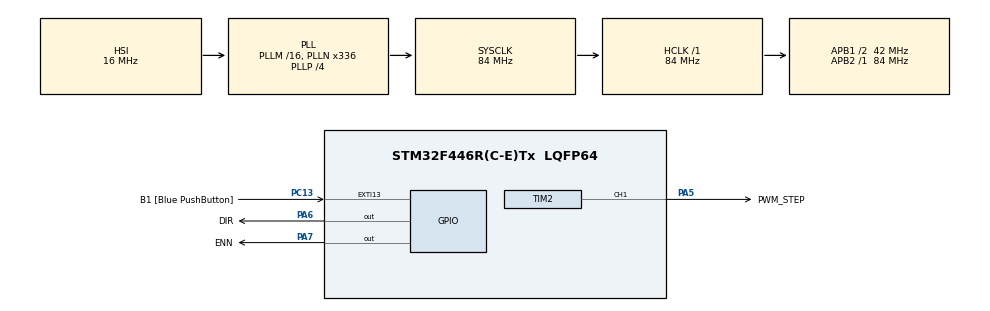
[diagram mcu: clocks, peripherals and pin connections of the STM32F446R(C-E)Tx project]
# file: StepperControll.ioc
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Dma.Request0=TIM2_UP/CH3
Dma.TIM2_UP/CH3.0.Direction=DMA_MEMORY_TO_PERIPH
Dma.TIM2_UP/CH3.0.FIFOMode=DMA_FIFOMODE_DISABLE
Dma.TIM2_UP/CH3.0.Instance=DMA1_Stream1
Dma.TIM2_UP/CH3.0.MemDataAlignment=DMA_MDATAALIGN_WORD
Dma.TIM2_UP/CH3.0.MemInc=DMA_MINC_ENABLE
Dma.TIM2_UP/CH3.0.Mode=DMA_NORMAL
Dma.TIM2_UP/CH3.0.PeriphDataAlignment=DMA_PDATAALIGN_WORD
Dma.TIM2_UP/CH3.0.PeriphInc=DMA_PINC_DISABLE
Dma.TIM2_UP/CH3.0.Priority=DMA_PRIORITY_HIGH
Mcu.Family=STM32F4
Mcu.Name=STM32F446R(C-E)Tx
Mcu.Package=LQFP64
NVIC.DMA1_Stream1_IRQn=true\:0\:0\:false\:false\:true\:false\:true\:true
NVIC.PriorityGroup=NVIC_PRIORITYGROUP_0
NVIC.TIM2_IRQn=true\:0\:0\:false\:false\:true\:true\:true\:true
PA13.GPIO_Label=TMS
PA13.Signal=SYS_JTMS-SWDIO
PA14.GPIO_Label=TCK
PA14.Signal=SYS_JTCK-SWCLK
PA2.GPIO_Label=USART_TX
PA2.Signal=USART2_TX
PA3.GPIO_Label=USART_RX
PA3.Signal=USART2_RX
PA5.GPIO_Label=PWM_STEP
PA5.GPIO_Speed=GPIO_SPEED_FREQ_HIGH
PA5.Signal=S_TIM2_CH1_ETR
PA6.GPIO_Label=DIR
PA6.Signal=GPIO_Output
PA7.GPIO_Label=ENN
PA7.GPIO_PuPd=GPIO_PULLDOWN
PA7.Signal=GPIO_Output
PB3.GPIO_Label=SWO
PB3.Signal=SYS_JTDO-SWO
PC13.GPIO_Label=B1 [Blue PushButton]
PC13.GPIO_ModeDefaultEXTI=GPIO_MODE_IT_FALLING
PC13.Signal=GPXTI13
PC14-OSC32_IN.Signal=RCC_OSC32_IN
PC15-OSC32_OUT.Signal=RCC_OSC32_OUT
PH0-OSC_IN.Mode=HSE-External-Oscillator
PH0-OSC_IN.Signal=RCC_OSC_IN
PH1-OSC_OUT.Mode=HSE-External-Oscillator
PH1-OSC_OUT.Signal=RCC_OSC_OUT
ProjectManager.HeapSize=0x200
ProjectManager.StackSize=0x400
ProjectManager.TargetToolchain=STM32CubeIDE
RCC.AHBFreq_Value=84000000
RCC.APB1CLKDivider=RCC_HCLK_DIV2
RCC.APB1Freq_Value=42000000
RCC.APB1TimFreq_Value=84000000
RCC.APB2Freq_Value=84000000
RCC.APB2TimFreq_Value=84000000
RCC.CortexFreq_Value=84000000
RCC.FLatency-AdvancedSettings=FLASH_LATENCY_2
RCC.HCLKFreq_Value=84000000
RCC.HSE_VALUE=8000000
RCC.HSI_VALUE=16000000
RCC.LSE_VALUE=32768
RCC.PLLN=336
RCC.PLLP=RCC_PLLP_DIV4
RCC.SYSCLKFreq_VALUE=84000000
RCC.SYSCLKSource=RCC_SYSCLKSOURCE_PLLCLK
RCC.USBFreq_Value=168000000
RCC.VCOOutputFreq_Value=336000000
SH.S_TIM2_CH1_ETR.0=TIM2_CH1,PWM Generation1 CH1
TIM2.Channel-PWM\ Generation1\ CH1=TIM_CHANNEL_1
TIM2.OCPolarity_1=TIM_OCPOLARITY_HIGH
TIM2.Period=41999999
TIM2.Pulse-PWM\ Generation1\ CH1=32
VP_TIM2_VS_ClockSourceINT.Mode=Internal
board=NUCLEO-F446RE

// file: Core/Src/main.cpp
/* USER CODE BEGIN Header */
/**
  ******************************************************************************
  * @file           : main.c
  * @brief          : Main program body
  ******************************************************************************
  * @attention
  *
  * Copyright (c) 2025 STMicroelectronics.
  * All rights reserved.
  *
  * This software is licensed under terms that can be found in the LICENSE file
  * in the root directory of this software component.
  * If no LICENSE file comes with this software, it is provided AS-IS.
  *
  ******************************************************************************
  */
/* USER CODE END Header */
#include "main.h"
#include "GPIO.hpp"
#include "StepperController.hpp"

/* USER CODE BEGIN PD */
#define MAX_SIZE 200*64 + 1		// Max size of ARR table

#define FREQ_TMR 84000000UL   // timer freq [Hz]
#define FULL_STEP_DEG 1.8     // deg / steo
#define MICRO_STEPS 0.125f    // 1/8
#define PI 3.14159265358979323846

#define LUT_SIZE 100			//Size of LUT for neg arcsin

// Scalers
#define T_SCALER FREQ_TMR      // time scaler (y axis)
#define THETA_SCALER 1000000UL // angle scaler (x axis)
/* USER CODE END PD */

TIM_HandleTypeDef htim2;
DMA_HandleTypeDef hdma_tim2_up_ch3;

/* USER CODE BEGIN PV */

GPIO DIR_GPIO(DIR_GPIO_Port, DIR_Pin);
GPIO ENN_GPIO(ENN_GPIO_Port, ENN_Pin);

/* USER CODE END PV */

void SystemClock_Config(void);
static void MX_GPIO_Init(void);
static void MX_DMA_Init(void);
static void MX_TIM2_Init(void);

/* USER CODE END 0 */

int main(void)
{

  /* MCU Configuration--------------------------------------------------------*/

  /* Reset of all peripherals, Initializes the Flash interface and the Systick. */
  HAL_Init();

  /* Configure the system clock */
  SystemClock_Config();

  /* Initialize all configured peripherals */
  MX_GPIO_Init();
  MX_DMA_Init();
  MX_TIM2_Init();
  /* USER CODE BEGIN 2 */
  ENN_GPIO.digitalWrite(GPIO_PIN_RESET);

  StepperController motor1_controller(
		  &htim2,
		  &hdma_tim2_up_ch3,
		  &DIR_GPIO,
		  1.8d,
		  0.125d);

  motor1_controller.calculate_movement(90, 0.5);
  /* USER CODE END 2 */

  /* Infinite loop */
  /* USER CODE BEGIN WHILE */
  int j = 0;
  while (1)
  {
	  HAL_Delay(150);
	  if(j<=20)
	  {
		  motor1_controller.start_stepping(1);
	  }
	  if(j>72)
	  {
		  motor1_controller.start_stepping(-1);
	  }
	  if(j == 21)
	  {
		  j = 0;
		  HAL_Delay(1000);
	  }
	  j++;
    /* USER CODE END WHILE */
  }
}

void SystemClock_Config(void)
{
  RCC_OscInitTypeDef RCC_OscInitStruct = {0};
  RCC_ClkInitTypeDef RCC_ClkInitStruct = {0};

  /** Configure the main internal regulator output voltage
  */
  __HAL_RCC_PWR_CLK_ENABLE();
  __HAL_PWR_VOLTAGESCALING_CONFIG(PWR_REGULATOR_VOLTAGE_SCALE3);

  /** Initializes the RCC Oscillators according to the specified parameters
  * in the RCC_OscInitTypeDef structure.
  */
  RCC_OscInitStruct.OscillatorType = RCC_OSCILLATORTYPE_HSI;
  RCC_OscInitStruct.HSIState = RCC_HSI_ON;
  RCC_OscInitStruct.HSICalibrationValue = RCC_HSICALIBRATION_DEFAULT;
  RCC_OscInitStruct.PLL.PLLState = RCC_PLL_ON;
  RCC_OscInitStruct.PLL.PLLSource = RCC_PLLSOURCE_HSI;
  RCC_OscInitStruct.PLL.PLLM = 16;
  RCC_OscInitStruct.PLL.PLLN = 336;
  RCC_OscInitStruct.PLL.PLLP = RCC_PLLP_DIV4;
  RCC_OscInitStruct.PLL.PLLQ = 2;
  RCC_OscInitStruct.PLL.PLLR = 2;
  if (HAL_RCC_OscConfig(&RCC_OscInitStruct) != HAL_OK)
  {
    Error_Handler();
  }

  /** Initializes the CPU, AHB and APB buses clocks
  */
  RCC_ClkInitStruct.ClockType = RCC_CLOCKTYPE_HCLK|RCC_CLOCKTYPE_SYSCLK
                              |RCC_CLOCKTYPE_PCLK1|RCC_CLOCKTYPE_PCLK2;
  RCC_ClkInitStruct.SYSCLKSource = RCC_SYSCLKSOURCE_PLLCLK;
  RCC_ClkInitStruct.AHBCLKDivider = RCC_SYSCLK_DIV1;
  RCC_ClkInitStruct.APB1CLKDivider = RCC_HCLK_DIV2;
  RCC_ClkInitStruct.APB2CLKDivider = RCC_HCLK_DIV1;

  if (HAL_RCC_ClockConfig(&RCC_ClkInitStruct, FLASH_LATENCY_2) != HAL_OK)
  {
    Error_Handler();
  }
}

static void MX_TIM2_Init(void)
{

  TIM_ClockConfigTypeDef sClockSourceConfig = {0};
  TIM_MasterConfigTypeDef sMasterConfig = {0};
  TIM_OC_InitTypeDef sConfigOC = {0};

  htim2.Instance = TIM2;
  htim2.Init.Prescaler = 0;
  htim2.Init.CounterMode = TIM_COUNTERMODE_UP;
  htim2.Init.Period = 0;
  htim2.Init.ClockDivision = TIM_CLOCKDIVISION_DIV1;
  htim2.Init.AutoReloadPreload = TIM_AUTORELOAD_PRELOAD_DISABLE;
  if (HAL_TIM_Base_Init(&htim2) != HAL_OK)
  {
    Error_Handler();
  }
  sClockSourceConfig.ClockSource = TIM_CLOCKSOURCE_INTERNAL;
  if (HAL_TIM_ConfigClockSource(&htim2, &sClockSourceConfig) != HAL_OK)
  {
    Error_Handler();
  }
  if (HAL_TIM_PWM_Init(&htim2) != HAL_OK)
  {
    Error_Handler();
  }
  sMasterConfig.MasterOutputTrigger = TIM_TRGO_RESET;
  sMasterConfig.MasterSlaveMode = TIM_MASTERSLAVEMODE_DISABLE;
  if (HAL_TIMEx_MasterConfigSynchronization(&htim2, &sMasterConfig) != HAL_OK)
  {
    Error_Handler();
  }
  sConfigOC.OCMode = TIM_OCMODE_PWM1;
  sConfigOC.Pulse = 320;
  sConfigOC.OCPolarity = TIM_OCPOLARITY_HIGH;
  sConfigOC.OCFastMode = TIM_OCFAST_DISABLE;
  if (HAL_TIM_PWM_ConfigChannel(&htim2, &sConfigOC, TIM_CHANNEL_1) != HAL_OK)
  {
    Error_Handler();
  }
  HAL_TIM_MspPostInit(&htim2);

}

static void MX_DMA_Init(void)
{

  /* DMA controller clock enable */
  __HAL_RCC_DMA1_CLK_ENABLE();

  /* DMA interrupt init */
  /* DMA1_Stream1_IRQn interrupt configuration */
  HAL_NVIC_SetPriority(DMA1_Stream1_IRQn, 0, 0);
  HAL_NVIC_EnableIRQ(DMA1_Stream1_IRQn);

}

static void MX_GPIO_Init(void)
{
  GPIO_InitTypeDef GPIO_InitStruct = {0};

  /* GPIO Ports Clock Enable */
  __HAL_RCC_GPIOC_CLK_ENABLE();
  __HAL_RCC_GPIOH_CLK_ENABLE();
  __HAL_RCC_GPIOA_CLK_ENABLE();
  __HAL_RCC_GPIOB_CLK_ENABLE();

  /*Configure GPIO pin Output Level */
  HAL_GPIO_WritePin(GPIOA, DIR_Pin|ENN_Pin, GPIO_PIN_RESET);

  /*Configure GPIO pin : B1_Pin */
  GPIO_InitStruct.Pin = B1_Pin;
  GPIO_InitStruct.Mode = GPIO_MODE_IT_FALLING;
  GPIO_InitStruct.Pull = GPIO_NOPULL;
  HAL_GPIO_Init(B1_GPIO_Port, &GPIO_InitStruct);

  /*Configure GPIO pins : USART_TX_Pin USART_RX_Pin */
  GPIO_InitStruct.Pin = USART_TX_Pin|USART_RX_Pin;
  GPIO_InitStruct.Mode = GPIO_MODE_AF_PP;
  GPIO_InitStruct.Pull = GPIO_NOPULL;
  GPIO_InitStruct.Speed = GPIO_SPEED_FREQ_VERY_HIGH;
  GPIO_InitStruct.Alternate = GPIO_AF7_USART2;
  HAL_GPIO_Init(GPIOA, &GPIO_InitStruct);

  /*Configure GPIO pin : DIR_Pin */
  GPIO_InitStruct.Pin = DIR_Pin;
  GPIO_InitStruct.Mode = GPIO_MODE_OUTPUT_PP;
  GPIO_InitStruct.Pull = GPIO_NOPULL;
  GPIO_InitStruct.Speed = GPIO_SPEED_FREQ_LOW;
  HAL_GPIO_Init(DIR_GPIO_Port, &GPIO_InitStruct);

  /*Configure GPIO pin : ENN_Pin */
  GPIO_InitStruct.Pin = ENN_Pin;
  GPIO_InitStruct.Mode = GPIO_MODE_OUTPUT_PP;
  GPIO_InitStruct.Pull = GPIO_PULLDOWN;
  GPIO_InitStruct.Speed = GPIO_SPEED_FREQ_LOW;
  HAL_GPIO_Init(ENN_GPIO_Port, &GPIO_InitStruct);

}

void Error_Handler(void)
{
  __disable_irq();
  while (1)
  {
  }
}
